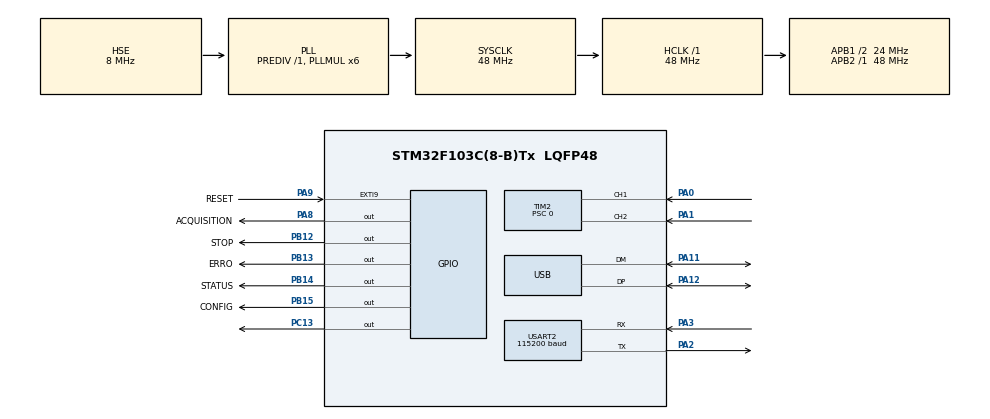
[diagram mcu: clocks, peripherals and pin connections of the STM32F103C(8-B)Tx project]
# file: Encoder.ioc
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Mcu.Family=STM32F1
Mcu.Name=STM32F103C(8-B)Tx
Mcu.Package=LQFP48
NVIC.EXTI9_5_IRQn=true\:2\:0\:true\:false\:true\:true\:true\:true
NVIC.PriorityGroup=NVIC_PRIORITYGROUP_4
NVIC.TIM2_IRQn=true\:0\:0\:true\:false\:true\:true\:true\:true
NVIC.USART2_IRQn=true\:1\:0\:true\:false\:true\:true\:true\:true
NVIC.USB_LP_CAN1_RX0_IRQn=true\:0\:0\:false\:false\:true\:false\:true\:true
PA0-WKUP.Signal=S_TIM2_CH1_ETR
PA1.Signal=S_TIM2_CH2
PA11.Mode=Device
PA11.Signal=USB_DM
PA12.Mode=Device
PA12.Signal=USB_DP
PA13.Mode=Serial_Wire
PA13.Signal=SYS_JTMS-SWDIO
PA14.Mode=Serial_Wire
PA14.Signal=SYS_JTCK-SWCLK
PA2.Mode=Asynchronous
PA2.Signal=USART2_TX
PA3.Mode=Asynchronous
PA3.Signal=USART2_RX
PA8.GPIO_Label=ACQUISITION
PA8.Signal=GPIO_Output
PA9.GPIO_Label=RESET
PA9.GPIO_ModeDefaultEXTI=GPIO_MODE_IT_FALLING
PA9.Signal=GPXTI9
PB12.GPIO_Label=STOP
PB12.Signal=GPIO_Output
PB13.GPIO_Label=ERRO
PB13.Signal=GPIO_Output
PB14.GPIO_Label=STATUS
PB14.Signal=GPIO_Output
PB15.GPIO_Label=CONFIG
PB15.Signal=GPIO_Output
PC13-TAMPER-RTC.Signal=GPIO_Output
PD0-OSC_IN.Mode=HSE-External-Oscillator
PD0-OSC_IN.Signal=RCC_OSC_IN
PD1-OSC_OUT.Mode=HSE-External-Oscillator
PD1-OSC_OUT.Signal=RCC_OSC_OUT
ProjectManager.HeapSize=0x200
ProjectManager.StackSize=0x400
ProjectManager.TargetToolchain=STM32CubeIDE
RCC.AHBFreq_Value=48000000
RCC.APB1CLKDivider=RCC_HCLK_DIV2
RCC.APB1Freq_Value=24000000
RCC.APB1TimFreq_Value=48000000
RCC.APB2Freq_Value=48000000
RCC.APB2TimFreq_Value=48000000
RCC.HCLKFreq_Value=48000000
RCC.PLLMUL=RCC_PLL_MUL6
RCC.PLLSourceVirtual=RCC_PLLSOURCE_HSE
RCC.SYSCLKFreq_VALUE=48000000
RCC.SYSCLKSource=RCC_SYSCLKSOURCE_PLLCLK
RCC.USBFreq_Value=48000000
SH.S_TIM2_CH1_ETR.0=TIM2_CH1,Encoder_Interface
SH.S_TIM2_CH2.0=TIM2_CH2,Encoder_Interface
TIM2.EncoderMode=TIM_ENCODERMODE_TI12
TIM2.IC1Filter=15
TIM2.IC2Filter=15
TIM2.Prescaler=0
TIM3.CounterMode=TIM_COUNTERMODE_UP
TIM3.Period=65356-1
TIM3.Prescaler=4800-1
USART2.BaudRate=115200
USART2.VirtualMode=VM_ASYNC
USB_DEVICE.CLASS_NAME_FS=CDC
USB_DEVICE.VirtualMode=Cdc
USB_DEVICE.VirtualModeFS=Cdc_FS
VP_TIM3_VS_ClockSourceINT.Mode=Internal
VP_USB_DEVICE_VS_USB_DEVICE_CDC_FS.Mode=CDC_FS
board=custom

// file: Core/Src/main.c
/* USER CODE BEGIN Header */
/**
***************************************************************************
* @file           : main.c
* @brief          : Main program body
******************************************************************************
* @attention
*
* <h2><center>&copy; Copyright (c) 2021 STMicroelectronics.
* All rights reserved.</center></h2>
*
* This software component is licensed by ST under BSD 3-Clause license,
* the "License"; You may not use this file except in compliance with the
* License. You may obtain a copy of the License at:
*                        opensource.org/licenses/BSD-3-Clause
*
******************************************************************************
*/
/* USER CODE END Header */
#include "main.h"
#include "usb_device.h"

/* USER CODE BEGIN Includes */
#include "usbd_cdc_if.h"
/* USER CODE END Includes */

/* USER CODE BEGIN PD */
#define END_INICIAL 0x0800F000 // Pag. 60 | Max (pag 63): 0x0800FC00
#define AMOSTRA 10
/* USER CODE END PD */

TIM_HandleTypeDef htim2;
TIM_HandleTypeDef htim3;

UART_HandleTypeDef huart2;

/* USER CODE BEGIN PV */
uint8_t buffer[70];
char EndReception='\0';
char RXBuffer[1];
char RXBufferArray[10];
char readStatus;
uint8_t i=0;
int16_t dados[4];
char errorFlag = 'H';

uint16_t timeTotal=0;

int32_t bufferPulso[AMOSTRA];

////

int32_t currentPulse[AMOSTRA];
volatile int32_t pulseCounter = 0;
int16_t pulseBuffer = 0;

int16_t previous = 0;
int16_t actual = 0;
volatile char USB_FLAG = 0;

uint16_t edgeTime = 0;
unsigned char readState = INIT;

///

struct Envio{
int inicio;
int endOrigem;
int endDestino;
int funcao;
int dadosCount;
int checksum;
int fim;
}Send_message;

struct Recepcao{
int inicio;
int endOrigem;
int endDestino;
int funcao;
int dadosCount;
int checksum;
int fim;
}receive_message;

struct structDevice{
int Id;
int Code;

}infoDevice;

union Pulso
{
int32_t all;
char pt[4];

};

union Pulso encoderPulso = {.all=0};

union Time
{
uint16_t all;
char pt[2];

};
union Time timeEncoder = {.all=0};

uint16_t c_sum=0;
uint8_t checksum=0, Total=0;
char StateMachine;
char uart_state;
int timerEnable = 0;
uint16_t currentTime[AMOSTRA];
uint16_t bufferTime = 0;;
uint8_t samples = 0;
volatile uint8_t direction=0;
static int16_t count=0;
volatile int16_t aux_count=0;
uint8_t deviceFlag = 0;
//int countEncoder=0;
/* USER CODE END PV */

void SystemClock_Config(void);
static void MX_GPIO_Init(void);
static void MX_TIM2_Init(void);
static void MX_TIM3_Init(void);
static void MX_USART2_UART_Init(void);
/* USER CODE BEGIN PFP */
int selectCommand(struct Recepcao receive_message);
char StartDevice(char deviceFlag);
char StopDevice(char deviceFlag);
void getID();
void procMeasurement();
//int getID(struct Recepcao receive_message,struct structDevice Device);
void TransmitData(struct Recepcao receive_message,int32_t *dataToSend,uint8_t dataLenght);
int Checksum(char *c);
void command(char*);
void DeviceParamenter(struct Recepcao message);
int  VerificaErro();
void structDados();
char deviceReset();
void delay(uint16_t delay);
void acquisition(void);

volatile uint32_t interruptCount = 0;

#define HZ_1000 10 /* 1x80*/
#define HZ_500  20 /* 2x80*/
#define HZ_200  50 /* 5x80*/
#define HZ_100  100 /* 10x80*/
#define HZ_50 	200 /* 20x80*/

/* USER CODE END PFP */

/* USER CODE BEGIN 0 */

void delay(uint16_t delay)
{
	__HAL_TIM_SET_COUNTER(&htim3,0);
	while(__HAL_TIM_GET_COUNTER(&htim3) < delay);
}

void acquisition(void)
{
	readState = INIT;
	edgeTime = 0;
	while(1)
	{
		if(readState == INIT)
		{
			pulseBuffer = 0;
			USB_FLAG = 0;
			__HAL_TIM_SET_COUNTER(&htim3,0);
			HAL_TIM_Base_Start(&htim3);
//			HAL_TIM_Encoder_Start_IT(&htim2, TIM_CHANNEL_1);
			HAL_TIM_Encoder_Start_IT(&htim2, TIM_CHANNEL_ALL);
//			HAL_Delay(1);
			readState = COLETA_ALL;

		}

		if(readState == COLETA_ALL)
		{
			/*
			 * Cada tick do countador TIM3 equivale a 100us;
			 * Na funcao DeviceParamenter(), o valor recebido em dados[1] equivale a taxa de aquisição,
			 * sendo o valor mínimo de aquisição igual 1ms (Fmax = 1kHz, dado[1] = 1), realizo multiplicação
			 * dado[1] * 10 para que 1ms seja equivalente a 10 ticks do Timer3 (10 ticks x 100u = 1ms)
			 * e então o polling abaixo funcione;
			 */
			__HAL_TIM_SET_COUNTER(&htim3,0);
			while(__HAL_TIM_GET_COUNTER(&htim3) < timeTotal && samples<AMOSTRA);
			memcpy(&bufferTime,&(__HAL_TIM_GET_COUNTER(&htim3)),sizeof(uint16_t));
			memcpy(&pulseBuffer,&count,sizeof(int16_t));
//			pulseBuffer = pulseBuffer>>1; // Teste de apenas 1 canal
			pulseBuffer = pulseBuffer>>2; // aplicação
//			HAL_GPIO_TogglePin(GPIOC, GPIO_PIN_13);
//			actual = pulseBuffer - previous;
//			previous = pulseBuffer;

			bufferTime = bufferTime/10;
			edgeTime = bufferTime + edgeTime;

			currentPulse[samples] = pulseBuffer;
			currentTime[samples] = edgeTime;
			samples++;

			if(samples == AMOSTRA)
			{
				samples = 0;
				readState = TRANSMISSAO;
			}

		}

		if(readState == TRANSMISSAO)
		{
			TransmitData(receive_message,currentPulse,67);
			HAL_GPIO_TogglePin(GPIOA, ACQUISITION_Pin);
			EndReception = '\0';
			if(USB_FLAG == 1)
			{
				readState = COMUNICACAO;
			}
			else readState = COLETA_ALL;
		}
		if(readState == COMUNICACAO) break;

	}
}

/* USER CODE END 0 */

int main(void)
{
  /* USER CODE BEGIN 1 */
/*	CDC_Transmit_FS((uint8_t*)data, strlen(data));*/
  /* USER CODE END 1 */

  /* MCU Configuration--------------------------------------------------------*/

  /* Reset of all peripherals, Initializes the Flash interface and the Systick. */
  HAL_Init();

  /* Configure the system clock */
  SystemClock_Config();

  /* Initialize all configured peripherals */
  MX_GPIO_Init();
  MX_TIM2_Init();
  MX_TIM3_Init();
  MX_USART2_UART_Init();
  MX_USB_DEVICE_Init();
  /* USER CODE BEGIN 2 */
HAL_Delay(500);
HAL_UART_Receive_IT(&huart2, (uint8_t *)RXBuffer, 1);
StateMachine = iddle;
char reset_status;
HAL_GPIO_WritePin(GPIOC, GPIO_PIN_13,GPIO_PIN_SET);
HAL_GPIO_WritePin(GPIOB,STATUS_Pin, GPIO_PIN_SET);
char startFlag = 0;
char stopFlag = 1;
char i=0;

//TEMPO TESTE
//StateMachine = Start;
//readStatus = AUTO;
//timeTotal = HZ_50;
//timeTotal = HZ_1000;

  /* USER CODE END 2 */

  /* Infinite loop */
  /* USER CODE BEGIN WHILE */

while (1)
{
  switch(StateMachine)
  {
	  case iddle:
		if(USB_FLAG == 1)
		{
			while(EndReception!=Fim) command(buffer);
			USB_FLAG = 0;
		}
		if(EndReception == Fim)
		{
			structDados();
			errorFlag = VerificaErro();
			if(errorFlag != OK)
			 {
				StateMachine = error;
			 }
			else
			{
				StateMachine = Inicio;
			}
		}
		else if(EndReception == Reset)
		{
			reset_status = deviceReset();
			if(reset_status == HAL_OK)
			{
				StateMachine = iddle;
				HAL_GPIO_WritePin(GPIOB,ERRO_Pin, GPIO_PIN_RESET);
				HAL_GPIO_WritePin(GPIOB,STOP_Pin, GPIO_PIN_RESET);
				HAL_GPIO_WritePin(GPIOB,CONFIG_Pin, GPIO_PIN_RESET);
				HAL_GPIO_WritePin(GPIOB,ACQUISITION_Pin, GPIO_PIN_RESET);
				EndReception = '\0';
				USB_FLAG = 0;
			}
			else
			{
				StateMachine = iddle;
				EndReception = Reset;
			}

		}
		else if(USB_FLAG == 0 && EndReception == '\0') StateMachine = iddle;
	  break;

	  case Inicio:
				StateMachine = selectCommand(receive_message);
	  break;

	  case Identification:
			getID();
			TransmitData(receive_message,infoDevice.Id,8);
			StateMachine = iddle;
			EndReception = '\0';
			USB_FLAG = 0;
	  break;

	  case Codification:
			setID();
			TransmitData(receive_message,infoDevice.Id,8);
			StateMachine = iddle;
			EndReception = '\0';
			USB_FLAG = 0;
	  break;

	  case Config:
		DeviceParamenter(receive_message);
		HAL_GPIO_WritePin(GPIOB,CONFIG_Pin, GPIO_PIN_SET);
		TransmitData(receive_message,2,7);
		StateMachine = iddle;
		EndReception = '\0';
		USB_FLAG = 0;
	   break;

	  case Start:
		startFlag = StartDevice(deviceFlag);
		deviceFlag = startFlag;
		if(deviceFlag == 1)
		{
			HAL_GPIO_WritePin(GPIOB,STOP_Pin, GPIO_PIN_RESET);
			TransmitData(receive_message,0,7);
			StateMachine = Read;
			EndReception = '\0';
			USB_FLAG = 0;
		}
		else
		{
//	  			StateMachine = error;
			StateMachine = iddle;
			EndReception = '\0';
			USB_FLAG = 0;
		}

	  break;

	  case Read:
		  //TEMPO TESTE
//		 HAL_TIM_Base_Start(&htim3);
//		 while(1)
//		 {
//			 HAL_GPIO_TogglePin(GPIOB, CONFIG_Pin);
//			 delay(1000); //1tick = 1us 60000 ticks ->60ms
//		 }
		acquisition();
		HAL_GPIO_WritePin(GPIOB,CONFIG_Pin, GPIO_PIN_RESET);
		StateMachine = iddle;
	  break;

	  case ReadError:
		  memcpy(bufferPulso,currentPulse,sizeof(int32_t));
		HAL_GPIO_WritePin(GPIOA,ACQUISITION_Pin, GPIO_PIN_SET);
		TransmitData(receive_message,bufferPulso,67);
		HAL_GPIO_WritePin(GPIOA,ACQUISITION_Pin, GPIO_PIN_RESET);
		StateMachine = iddle;
		EndReception = '\0';
		USB_FLAG = 0;
	  break;

	  case Stop:
		stopFlag = StopDevice(deviceFlag);
		deviceFlag = stopFlag;
		if(stopFlag == 0)
		{
			HAL_GPIO_WritePin(GPIOB,STOP_Pin, GPIO_PIN_SET);
			HAL_GPIO_WritePin(GPIOA,ACQUISITION_Pin, GPIO_PIN_RESET);
			TransmitData(receive_message,0,7);
			StateMachine = iddle;
			EndReception = '\0';
			USB_FLAG = 0;
		}
		else
		{
			HAL_GPIO_WritePin(GPIOB,STOP_Pin, GPIO_PIN_RESET);
			StateMachine = iddle;
			EndReception = '\0';
			USB_FLAG = 0;
		}
	   break;

	  case error:
		HAL_GPIO_WritePin(GPIOB,ERRO_Pin, GPIO_PIN_SET);
		HAL_GPIO_WritePin(GPIOB,CONFIG_Pin, GPIO_PIN_RESET);
		HAL_GPIO_WritePin(GPIOB,STOP_Pin, GPIO_PIN_RESET);
		TransmitData(receive_message,0,8);
		StateMachine = iddle;
		EndReception = '\0';
		USB_FLAG = 0;
		break;
  }
    /* USER CODE END WHILE */

}
}

void SystemClock_Config(void)
{
  RCC_OscInitTypeDef RCC_OscInitStruct = {0};
  RCC_ClkInitTypeDef RCC_ClkInitStruct = {0};
  RCC_PeriphCLKInitTypeDef PeriphClkInit = {0};

  /** Initializes the RCC Oscillators according to the specified parameters
  * in the RCC_OscInitTypeDef structure.
  */
  RCC_OscInitStruct.OscillatorType = RCC_OSCILLATORTYPE_HSE;
  RCC_OscInitStruct.HSEState = RCC_HSE_ON;
  RCC_OscInitStruct.HSEPredivValue = RCC_HSE_PREDIV_DIV1;
  RCC_OscInitStruct.HSIState = RCC_HSI_ON;
  RCC_OscInitStruct.PLL.PLLState = RCC_PLL_ON;
  RCC_OscInitStruct.PLL.PLLSource = RCC_PLLSOURCE_HSE;
  RCC_OscInitStruct.PLL.PLLMUL = RCC_PLL_MUL6;
  if (HAL_RCC_OscConfig(&RCC_OscInitStruct) != HAL_OK)
  {
    Error_Handler();
  }
  /** Initializes the CPU, AHB and APB buses clocks
  */
  RCC_ClkInitStruct.ClockType = RCC_CLOCKTYPE_HCLK|RCC_CLOCKTYPE_SYSCLK
                              |RCC_CLOCKTYPE_PCLK1|RCC_CLOCKTYPE_PCLK2;
  RCC_ClkInitStruct.SYSCLKSource = RCC_SYSCLKSOURCE_PLLCLK;
  RCC_ClkInitStruct.AHBCLKDivider = RCC_SYSCLK_DIV1;
  RCC_ClkInitStruct.APB1CLKDivider = RCC_HCLK_DIV2;
  RCC_ClkInitStruct.APB2CLKDivider = RCC_HCLK_DIV1;

  if (HAL_RCC_ClockConfig(&RCC_ClkInitStruct, FLASH_LATENCY_1) != HAL_OK)
  {
    Error_Handler();
  }
  PeriphClkInit.PeriphClockSelection = RCC_PERIPHCLK_USB;
  PeriphClkInit.UsbClockSelection = RCC_USBCLKSOURCE_PLL;
  if (HAL_RCCEx_PeriphCLKConfig(&PeriphClkInit) != HAL_OK)
  {
    Error_Handler();
  }
}

static void MX_TIM2_Init(void)
{

  TIM_Encoder_InitTypeDef sConfig = {0};
  TIM_MasterConfigTypeDef sMasterConfig = {0};

  htim2.Instance = TIM2;
  htim2.Init.Prescaler = 0;
  htim2.Init.CounterMode = TIM_COUNTERMODE_UP;
  htim2.Init.Period = 65535;
  htim2.Init.ClockDivision = TIM_CLOCKDIVISION_DIV1;
  htim2.Init.AutoReloadPreload = TIM_AUTORELOAD_PRELOAD_DISABLE;
  sConfig.EncoderMode = TIM_ENCODERMODE_TI12;
  sConfig.IC1Polarity = TIM_ICPOLARITY_RISING;
  sConfig.IC1Selection = TIM_ICSELECTION_DIRECTTI;
  sConfig.IC1Prescaler = TIM_ICPSC_DIV1;
  sConfig.IC1Filter = 15;
  sConfig.IC2Polarity = TIM_ICPOLARITY_RISING;
  sConfig.IC2Selection = TIM_ICSELECTION_DIRECTTI;
  sConfig.IC2Prescaler = TIM_ICPSC_DIV1;
  sConfig.IC2Filter = 15;
  if (HAL_TIM_Encoder_Init(&htim2, &sConfig) != HAL_OK)
  {
    Error_Handler();
  }
  sMasterConfig.MasterOutputTrigger = TIM_TRGO_RESET;
  sMasterConfig.MasterSlaveMode = TIM_MASTERSLAVEMODE_DISABLE;
  if (HAL_TIMEx_MasterConfigSynchronization(&htim2, &sMasterConfig) != HAL_OK)
  {
    Error_Handler();
  }

}

static void MX_TIM3_Init(void)
{

  TIM_ClockConfigTypeDef sClockSourceConfig = {0};
  TIM_MasterConfigTypeDef sMasterConfig = {0};

  htim3.Instance = TIM3;
  htim3.Init.Prescaler = 4800-1;
  htim3.Init.CounterMode = TIM_COUNTERMODE_UP;
  htim3.Init.Period = 65356-1;
  htim3.Init.ClockDivision = TIM_CLOCKDIVISION_DIV1;
  htim3.Init.AutoReloadPreload = TIM_AUTORELOAD_PRELOAD_DISABLE;
  if (HAL_TIM_Base_Init(&htim3) != HAL_OK)
  {
    Error_Handler();
  }
  sClockSourceConfig.ClockSource = TIM_CLOCKSOURCE_INTERNAL;
  if (HAL_TIM_ConfigClockSource(&htim3, &sClockSourceConfig) != HAL_OK)
  {
    Error_Handler();
  }
  sMasterConfig.MasterOutputTrigger = TIM_TRGO_RESET;
  sMasterConfig.MasterSlaveMode = TIM_MASTERSLAVEMODE_DISABLE;
  if (HAL_TIMEx_MasterConfigSynchronization(&htim3, &sMasterConfig) != HAL_OK)
  {
    Error_Handler();
  }

}

static void MX_USART2_UART_Init(void)
{

  huart2.Instance = USART2;
  huart2.Init.BaudRate = 115200;
  huart2.Init.WordLength = UART_WORDLENGTH_8B;
  huart2.Init.StopBits = UART_STOPBITS_1;
  huart2.Init.Parity = UART_PARITY_NONE;
  huart2.Init.Mode = UART_MODE_TX_RX;
  huart2.Init.HwFlowCtl = UART_HWCONTROL_NONE;
  huart2.Init.OverSampling = UART_OVERSAMPLING_16;
  if (HAL_UART_Init(&huart2) != HAL_OK)
  {
    Error_Handler();
  }

}

static void MX_GPIO_Init(void)
{
  GPIO_InitTypeDef GPIO_InitStruct = {0};

  /* GPIO Ports Clock Enable */
  __HAL_RCC_GPIOC_CLK_ENABLE();
  __HAL_RCC_GPIOD_CLK_ENABLE();
  __HAL_RCC_GPIOA_CLK_ENABLE();
  __HAL_RCC_GPIOB_CLK_ENABLE();

  /*Configure GPIO pin Output Level */
  HAL_GPIO_WritePin(GPIOC, GPIO_PIN_13, GPIO_PIN_RESET);

  /*Configure GPIO pin Output Level */
  HAL_GPIO_WritePin(GPIOB, STOP_Pin|ERRO_Pin|STATUS_Pin|CONFIG_Pin, GPIO_PIN_RESET);

  /*Configure GPIO pin Output Level */
  HAL_GPIO_WritePin(ACQUISITION_GPIO_Port, ACQUISITION_Pin, GPIO_PIN_RESET);

  /*Configure GPIO pin : PC13 */
  GPIO_InitStruct.Pin = GPIO_PIN_13;
  GPIO_InitStruct.Mode = GPIO_MODE_OUTPUT_PP;
  GPIO_InitStruct.Pull = GPIO_NOPULL;
  GPIO_InitStruct.Speed = GPIO_SPEED_FREQ_LOW;
  HAL_GPIO_Init(GPIOC, &GPIO_InitStruct);

  /*Configure GPIO pins : STOP_Pin ERRO_Pin STATUS_Pin CONFIG_Pin */
  GPIO_InitStruct.Pin = STOP_Pin|ERRO_Pin|STATUS_Pin|CONFIG_Pin;
  GPIO_InitStruct.Mode = GPIO_MODE_OUTPUT_PP;
  GPIO_InitStruct.Pull = GPIO_NOPULL;
  GPIO_InitStruct.Speed = GPIO_SPEED_FREQ_LOW;
  HAL_GPIO_Init(GPIOB, &GPIO_InitStruct);

  /*Configure GPIO pin : ACQUISITION_Pin */
  GPIO_InitStruct.Pin = ACQUISITION_Pin;
  GPIO_InitStruct.Mode = GPIO_MODE_OUTPUT_PP;
  GPIO_InitStruct.Pull = GPIO_NOPULL;
  GPIO_InitStruct.Speed = GPIO_SPEED_FREQ_LOW;
  HAL_GPIO_Init(ACQUISITION_GPIO_Port, &GPIO_InitStruct);

  /*Configure GPIO pin : RESET_Pin */
  GPIO_InitStruct.Pin = RESET_Pin;
  GPIO_InitStruct.Mode = GPIO_MODE_IT_FALLING;
  GPIO_InitStruct.Pull = GPIO_NOPULL;
  HAL_GPIO_Init(RESET_GPIO_Port, &GPIO_InitStruct);

  /* EXTI interrupt init*/
  HAL_NVIC_SetPriority(EXTI9_5_IRQn, 2, 0);
  HAL_NVIC_EnableIRQ(EXTI9_5_IRQn);

}

/* USER CODE BEGIN 4 */
char deviceReset()
{
char i=0;
char reset;
infoDevice.Id =0;
for(i=0;i<10;i++)
{
  bufferPulso[i] = 0;
  currentTime[i] = 0;
  currentPulse[i] = 0;
}
reset = StopDevice(HAL_OK);

return reset;
}

/*
 * 	000007 - 0A C0 D0 02 02 01 14 57 0F  - Configuração
	000009 - 0A C0 D0 02 02 01 0A 61 0F  - Configuração
	000011 - 0A C0 D0 02 02 01 05 66 0F  - Configuração
	000013 - 0A C0 D0 02 02 01 02 69 0F  - Configuração
	000015 - 0A C0 D0 02 02 01 01 6A 0F  - Configuração
 */
void structDados()
{
uint8_t counter=0;
receive_message.inicio = RXBufferArray[0];
receive_message.endOrigem = RXBufferArray[1];
receive_message.endDestino = RXBufferArray[2];
receive_message.funcao = RXBufferArray[3];
receive_message.dadosCount = RXBufferArray[4];
while(counter<receive_message.dadosCount)
{
	dados[counter] = RXBufferArray[5+counter];
	counter++;
}
receive_message.checksum = RXBufferArray[5+counter];
receive_message.fim=RXBufferArray[6+counter];
counter=0;
}

int VerificaErro()
{
if(receive_message.checksum != Checksum(RXBufferArray))
{
	return errorChecksum;
}
if(receive_message.endDestino>255 || receive_message.endDestino<0)
{
	HAL_GPIO_TogglePin(GPIOC, GPIO_PIN_13);
	return errorAddress;
}
/*	if(infoDevice.Id != 0x00 && infoDevice.Id != receive_message.endDestino)
{
	return errorAddress;
}*/
if(receive_message.funcao == 2 && receive_message.dadosCount < 0)
{
	return errorConfig;
}
if(receive_message.funcao > 0x08)
{
	return errorFunction;
}
if(receive_message.funcao == 2 && dados[1]<1)
{
	return errorData;
}
if(receive_message.inicio != 0x0A)
{
	return errorStartHeader;
}
if(receive_message.fim != 0x0f)
{
	return errorEndHeader;
}
return OK;

}

void command(char *ReceivedChar)
{

static int FirstData = 0;
/*	int ReceivedInt = *ReceivedChar - '\0';*/
if (FirstData == 0)
{
RXBufferArray[0] = ReceivedChar[0];
FirstData = 1;
uart_state = Origem;
}
else
{
if (uart_state != iddle)
{
  switch (uart_state) {
  case Origem:
		RXBufferArray[1] = ReceivedChar[1];
		uart_state = Destino;
	break;

  case Destino:
		RXBufferArray[2] = ReceivedChar[2];
		uart_state = Funcao;
	break;

  case Funcao:
		RXBufferArray[3] = ReceivedChar[3];
		uart_state = DadosCount;
	break;

  case DadosCount:
	if(ReceivedChar[4]>0)
	{
		RXBufferArray[4] = ReceivedChar[4];
		uart_state = Dados;
	}
	else if (ReceivedChar[4]==0)
	{
		RXBufferArray[4] = ReceivedChar[4];
		uart_state = CheckSum;
	}
	break;

  case Dados:
	  RXBufferArray[5+i] = ReceivedChar[5+i];
	  i++;
	  if(i<RXBufferArray[4])
	  {
		  uart_state = Dados;
	  }
	  else
	  {
		  uart_state = CheckSum;
	  }

	  break;
  case CheckSum:
	  RXBufferArray[5+i] = ReceivedChar[5+i];
	  checksum = Checksum(RXBufferArray);
	  uart_state = Fim;
  break;

  case Fim:
	  RXBufferArray[6+i] = ReceivedChar[6+i];
	  EndReception = Fim;
	  i=0;
	  FirstData = 0;
	  uart_state = iddle;
	break;
  default:
	uart_state = iddle;
  }
}
}
}

int selectCommand(struct Recepcao receive_message)

{
if (receive_message.funcao == 1)
 {
	  StateMachine = Identification;
 }
  else if (receive_message.funcao == 2)
  {
	  StateMachine = Config;
  }
  else if (receive_message.funcao == 3)
  {
	  StateMachine = Start;
  }
else if (receive_message.funcao == 4)
{
	  StateMachine = Read;
}
else if (receive_message.funcao == 5)
{
	  StateMachine = ReadError;
}
else if (receive_message.funcao == 6)
{
	  StateMachine = Stop;
}
else if (receive_message.funcao == 7)
{
	  StateMachine = Codification;
}
return StateMachine;
}

void getID()
{
	uint16_t codCefise=0;
	receive_message.dadosCount = 1;
	FLASH_le_16bits(END_INICIAL, &codCefise);
	if(codCefise != 0xFFFF)
	{
		infoDevice.Id = codCefise;
	}
}

void setID()
{
	uint16_t codCefise=0;
	receive_message.dadosCount = 1;
	FLASH_apaga(END_INICIAL, 1);
	codCefise = dados[0];
	infoDevice.Id = codCefise;
	FLASH_escreve_16bits(END_INICIAL, &codCefise);
}

void DeviceParamenter(struct Recepcao message)
{
timeTotal = dados[1] * 10;
switch(dados[0])
{
	case 0x01:
		readStatus = AUTO;
	break;
	case 0x02:
		readStatus = MAN;
	break;

}
}

char StartDevice(char deviceFlag)
{
char startEncoder;
if(deviceFlag == 0)
{
	startEncoder = HAL_OK;
	HAL_Delay(10);
	//
}
if(startEncoder == HAL_OK)
	return 1;
else return 0;
}

void TransmitData(struct Recepcao Send_message,int32_t *dataToSend, uint8_t dataLenght)
{
uint8_t txBuffer[dataLenght];
static uint8_t txBufferRead[67];
uint8_t errorBuffer[dataLenght];
uint8_t counter = 2;
uint8_t countArray = 0;
uint8_t counterAux = 0;
switch(StateMachine)
{
	case Identification:
		txBuffer[0] = Send_message.inicio;
		txBuffer[1] = Send_message.endDestino;
		txBuffer[2] = Send_message.endOrigem;
		txBuffer[3] = Send_message.funcao;
		txBuffer[4] = Send_message.dadosCount;
		if(Send_message.dadosCount>0)
		{
			txBuffer[5] = infoDevice.Id;
		}
		txBuffer[6] = Checksum(txBuffer);
		txBuffer[7] = Send_message.fim;
		CDC_Transmit_FS((uint8_t*)txBuffer, sizeof(txBuffer));

	break;

	case Codification:
		txBuffer[0] = Send_message.inicio;
		txBuffer[1] = Send_message.endDestino;
		txBuffer[2] = Send_message.endOrigem;
		txBuffer[3] = 0x07;
		txBuffer[4] = Send_message.dadosCount;
		if(Send_message.dadosCount>0)
		{
			txBuffer[5] = infoDevice.Id;
		}
		txBuffer[6] = Checksum(txBuffer);
		txBuffer[7] = Send_message.fim;
		CDC_Transmit_FS((uint8_t*)txBuffer, sizeof(txBuffer));

	break;
	case Config:
		txBuffer[0] = Send_message.inicio;
		txBuffer[1] = infoDevice.Id;
		txBuffer[2] = Send_message.endOrigem;
		txBuffer[3] = Send_message.funcao;
		txBuffer[4] = 0x00;
		txBuffer[5] = Checksum(txBuffer);
		txBuffer[6] = Send_message.fim;
		CDC_Transmit_FS((uint8_t*)txBuffer, sizeof(txBuffer));

	break;
	case Start: // Msg de inicio de dispositivo
		txBuffer[0] = Send_message.inicio;
		txBuffer[1] = infoDevice.Id;
		txBuffer[2] = Send_message.endOrigem;
		txBuffer[3] = 0x03;
		txBuffer[4] = Send_message.dadosCount;
		txBuffer[5] = Checksum(txBuffer);
		txBuffer[6] = Send_message.fim;
		CDC_Transmit_FS((uint8_t*)txBuffer, sizeof(txBuffer));
	break;

	case Read:
		txBufferRead[0] = Send_message.inicio;
		txBufferRead[1] = infoDevice.Id;
		txBufferRead[2] = Send_message.endOrigem;
		txBufferRead[3] = 0x04;
		txBufferRead[4] = 0x3C;
		for(countArray = 0; countArray<10; countArray++)
		{
			timeEncoder.all = currentTime[countArray];
//			timeEncoder.all = bufferTime[countArray];
			encoderPulso.all = dataToSend[countArray];
			for(counter = 2; counter>0; counter--)
			{
				txBufferRead[5+counterAux] = timeEncoder.pt[counter-1];
				counterAux++;
			}
			for(counter = 4; counter>0; counter--)
			{
				txBufferRead[5+counterAux] = encoderPulso.pt[counter-1];
				counterAux++;
			}
		}
		txBufferRead[65] = Checksum(txBufferRead);
		txBufferRead[66] = Send_message.fim;

		CDC_Transmit_FS((uint8_t*)txBufferRead, sizeof(txBufferRead));

	break;

	case ReadError:
		txBufferRead[0] = 0x0A;
		txBufferRead[3] = 0x05;
		txBufferRead[65] = Checksum(txBufferRead);
		txBufferRead[66] = 0x0F;
		CDC_Transmit_FS((uint8_t*)txBufferRead, sizeof(txBufferRead));
	break;

	case Stop:
	txBuffer[0] = Send_message.inicio;
	txBuffer[1] = infoDevice.Id;
	txBuffer[2] = Send_message.endOrigem;
	txBuffer[3] = Send_message.funcao;
	txBuffer[4] = Send_message.dadosCount;
	txBuffer[5] = Checksum(txBuffer);
	txBuffer[6] = Send_message.fim;
	CDC_Transmit_FS((uint8_t*)txBuffer, sizeof(txBuffer));
	break;

	case error:
		if(errorFlag == errorChecksum)
		{
			txBuffer[0] = Send_message.inicio;
			txBuffer[1] = infoDevice.Id;
			txBuffer[2] = Send_message.endOrigem;
			txBuffer[3] = (Send_message.funcao | 0xF0);
			txBuffer[4] = 0x01;
			txBuffer[5] = 0x00; //codigo de erro
			txBuffer[6] = Checksum(txBuffer);
			txBuffer[7] = Send_message.fim;
			CDC_Transmit_FS((uint8_t*)txBuffer, sizeof(txBuffer));
		}
		else if (errorFlag == timeOut)
		{
			txBuffer[0] = Send_message.inicio;
			txBuffer[1] = infoDevice.Id;
			txBuffer[2] = Send_message.endOrigem;
			txBuffer[3] = (Send_message.funcao | 0xF0);
			txBuffer[4] = 0x01;
			txBuffer[5] = 0x01;
			txBuffer[6] = Checksum(txBuffer);
			txBuffer[7] = Send_message.fim;
			CDC_Transmit_FS((uint8_t*)txBuffer, sizeof(txBuffer));
		}
		else if (errorFlag == noAddress)
		{
			txBuffer[0] = Send_message.inicio;
			txBuffer[1] = infoDevice.Id;
			txBuffer[2] = Send_message.endOrigem;
			txBuffer[3] = (0x01 | 0xF0);
			txBuffer[4] = 0x01;
			txBuffer[5] = 0x02;
			txBuffer[6] = Checksum(txBuffer);
			txBuffer[7] = Send_message.fim;
			CDC_Transmit_FS((uint8_t*)txBuffer, sizeof(txBuffer));
		}
		else if (errorFlag == errorAddress)
		{
			txBuffer[0] = Send_message.inicio;
			txBuffer[1] = infoDevice.Id;
			txBuffer[2] = Send_message.endOrigem;
			txBuffer[3] = (0x01 | 0xF0);
			txBuffer[4] = 0x01;
			txBuffer[5] = 0x03;
			txBuffer[6] = Checksum(txBuffer);
			txBuffer[7] = 0x0F;
			CDC_Transmit_FS((uint8_t*)txBuffer, sizeof(txBuffer));
		}
		else if (errorFlag == errorDevice)
		{
			txBuffer[0] = Send_message.inicio;
			txBuffer[1] = infoDevice.Id;
			txBuffer[2] = Send_message.endOrigem;
			txBuffer[3] = (Send_message.funcao | 0xF0);
			txBuffer[4] = 0x01;
			txBuffer[5] = 0x04;
			txBuffer[6] = Checksum(txBuffer);
			txBuffer[7] = Send_message.fim;
			CDC_Transmit_FS((uint8_t*)txBuffer, sizeof(txBuffer));
		}
		else if (errorFlag == errorConfig)
		{
			txBuffer[0] = Send_message.inicio;
			txBuffer[1] = infoDevice.Id;
			txBuffer[2] = Send_message.endOrigem;
			txBuffer[3] = (0x02 | 0xF0);
			txBuffer[4] = 0x01;
			txBuffer[5] = 0x05;
			txBuffer[6] = Checksum(txBuffer);
			txBuffer[7] = Send_message.fim;
			CDC_Transmit_FS((uint8_t*)txBuffer, sizeof(txBuffer));
		}
		else if (errorFlag == errorFunction)
		{
			txBuffer[0] = Send_message.inicio;
			txBuffer[1] = infoDevice.Id;
			txBuffer[2] = Send_message.endOrigem;
			txBuffer[3] = (Send_message.funcao | 0xF0);
			txBuffer[4] = 0x01;
			txBuffer[5] = 0x06;
			txBuffer[6] = Checksum(txBuffer);
			txBuffer[7] = Send_message.fim;
			CDC_Transmit_FS((uint8_t*)txBuffer, sizeof(txBuffer));
		}
		else if (errorFlag == errorData)
		{
			txBuffer[0] = Send_message.inicio;
			txBuffer[1] = infoDevice.Id;
			txBuffer[2] = Send_message.endOrigem;
			txBuffer[3] = (Send_message.funcao | 0xF0);
			txBuffer[4] = 0x01;
			txBuffer[5] = 0x07;
			txBuffer[6] = Checksum(txBuffer);
			txBuffer[7] = Send_message.fim;
			CDC_Transmit_FS((uint8_t*)txBuffer, sizeof(txBuffer));
		}
		else if (errorFlag == errorStartHeader)
		{
			txBuffer[0] = 0x0A;
			txBuffer[1] = infoDevice.Id;
			txBuffer[2] = Send_message.endOrigem;
			txBuffer[3] = (Send_message.funcao | 0xF0);
			txBuffer[4] = 0x01;
			txBuffer[5] = 0x08;
			txBuffer[6] = Checksum(txBuffer);
			txBuffer[7] = Send_message.fim;
			CDC_Transmit_FS((uint8_t*)txBuffer, sizeof(txBuffer));
		}
		else if (errorFlag == errorEndHeader)
		{
			txBuffer[0] = Send_message.inicio;
			txBuffer[1] = infoDevice.Id;
			txBuffer[2] = Send_message.endOrigem;
			txBuffer[3] = (Send_message.funcao | 0xF0);
			txBuffer[4] = 0x01;
			txBuffer[5] = 0x09;
			txBuffer[6] = Checksum(txBuffer);
			txBuffer[7] = Send_message.fim;
			CDC_Transmit_FS((uint8_t*)txBuffer, sizeof(txBuffer));
		}
		break;
}
}

char StopDevice(char deviceFlag)
{
static char stopEncoder;
char contador = 0;
if(deviceFlag == 1)
{
//	stopEncoder = HAL_TIM_Encoder_Stop_IT(&htim2, TIM_CHANNEL_1);
	stopEncoder = HAL_TIM_Encoder_Stop_IT(&htim2, TIM_CHANNEL_ALL);
	timerEnable = HAL_TIM_Base_Stop_IT(&htim3);
	deviceFlag = 0;
}

HAL_Delay(10);
if(stopEncoder == HAL_OK && timerEnable == HAL_OK)
{
	for(contador=0;contador<10;contador++)
	{
		bufferPulso[contador] = 0;
		currentPulse[contador] = 0;
		currentTime[contador] = 0;
		USB_FLAG = 0;
	}
	pulseBuffer = 0;
	samples = 0;
	return 0;
}
else return 1;
}

int Checksum(char *c)
{
//if(c[0] == 0x0A)//Verifica Byte Inicio
//{
	if(c[4] == 0)Total=7;//Define tamanho do pacote
	if(c[4] == 1)Total=8;
	if(c[4] == 2)Total=9;
	if(c[4] == 4)Total=11;
	if(c[4] == 5) Total = 12;
	if(c[4] == 6) Total = 13;
	if(c[4] == 7) Total = 14;
	if(c[4] == 8) Total = 15;
	if(c[4] == 9) Total = 16;
	if(c[4] == 10) Total = 17;
	if(c[4] == 12) Total = 19;
	if(c[4] == 14) Total = 21;
	if(c[4] == 23 ) Total = 29;
	if(c[4] == 32 ) Total = 38;
	if(c[4] == 40 ) Total = 47;
	if(c[4] == 60 ) Total = 67;

	c_sum=0;
	for(int i=1; i<(Total-2);i++)//Soma os bytes
	{
		c_sum += c[i];
	}

	checksum = 0xFF-c_sum;//Faz os calculos seguintes
	checksum += 0x01;
//}
return checksum;
}

//Interrupções
void HAL_TIM_IC_CaptureCallback(TIM_HandleTypeDef *htim)
{
	if(htim->Instance == TIM2)
	{
		aux_count = __HAL_TIM_GET_COUNTER(&htim2);
//		count = aux_count>>1;
		count = aux_count;
	}

}

void HAL_UART_RxCpltCallback(UART_HandleTypeDef *huart)
{
if(EndReception == '\0')
{
	command(RXBuffer[0]);
	HAL_UART_Receive_IT(&huart2, (uint8_t *)RXBuffer, 1);
}

}

void HAL_GPIO_EXTI_Callback(uint16_t GPIO_Pin)
{
if(GPIO_Pin == RESET_Pin)
{
	StateMachine = iddle;
	EndReception = Reset;
}
}

/* USER CODE END 4 */

void Error_Handler(void)
{
__disable_irq();
while (1)
{
}
}
